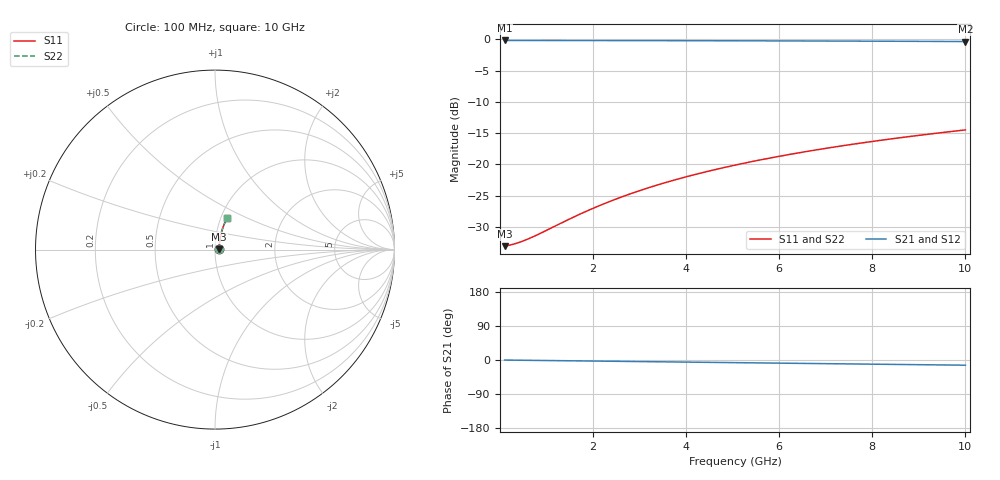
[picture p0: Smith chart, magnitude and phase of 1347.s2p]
# Hz S RI R 50.00
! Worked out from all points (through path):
!   100 points, 100 MHz to 10 GHz, reference 50 ohm
!   highest |S21| = -0.19 dB at 100 MHz (marker M1); lowest = -0.4 dB at 10 GHz (marker M2)
!   group delay of S21, straight-line fit = 3.81 ps
!   lowest |S11| = -33.1 dB at 100 MHz (marker M3), VSWR 1.05, Z = 52.3 + j0.194 ohm
!   |S11| at or under -10 dB: start of sweep to end of sweep
!   |S22| runs from -33.1 to -14.5 dB; largest |S21 - S12| = 0
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1e8  0.0222 0.00186  0.9778 -0.00236  0.9778 -0.00236  0.0222 0.00186
2e8  0.0223 0.00371  0.9777 -0.00473  0.9777 -0.00473  0.0223 0.00371
3e8  0.0225 0.00557  0.9775 -0.00709  0.9775 -0.00709  0.0225 0.00557
4e8  0.0226 0.00742  0.9774 -0.00945  0.9774 -0.00945  0.0226 0.00742
6e8  0.0228 0.0111  0.9772 -0.0142  0.9772 -0.0142  0.0228 0.0111
8e8  0.023 0.0148  0.977 -0.0189  0.977 -0.0189  0.023 0.0148
1.5e9  0.024 0.0278  0.9759 -0.0354  0.9759 -0.0354  0.024 0.0278
1.8e9  0.0245 0.0333  0.9754 -0.0424  0.9754 -0.0424  0.0245 0.0333
2.2e9  0.0254 0.0407  0.9746 -0.0518  0.9746 -0.0518  0.0254 0.0407
2.6e9  0.0263 0.048  0.9736 -0.0612  0.9736 -0.0612  0.0263 0.048
3e9  0.0274 0.0553  0.9725 -0.0705  0.9725 -0.0705  0.0274 0.0553
3.4e9  0.0286 0.0626  0.9712 -0.0799  0.9712 -0.0799  0.0286 0.0626
3.8e9  0.0299 0.0699  0.9698 -0.0892  0.9698 -0.0892  0.0299 0.0699
4.2e9  0.0314 0.0771  0.9683 -0.0984  0.9683 -0.0984  0.0314 0.0771
4.6e9  0.033 0.0843  0.9667 -0.1076  0.9667 -0.1076  0.033 0.0843
5.1e9  0.0352 0.0932  0.9644 -0.1191  0.9644 -0.1191  0.0352 0.0932
5.9e9  0.0392 0.1074  0.9603 -0.1373  0.9603 -0.1373  0.0392 0.1074
6.7e9  0.0437 0.1213  0.9557 -0.1553  0.9557 -0.1553  0.0437 0.1213
7.5e9  0.0487 0.135  0.9506 -0.1731  0.9506 -0.1731  0.0487 0.135
8.4e9  0.0549 0.1502  0.9442 -0.1929  0.9442 -0.1929  0.0549 0.1502
9.2e9  0.0609 0.1633  0.9379 -0.2101  0.9379 -0.2101  0.0609 0.1633
1e10  0.0674 0.1762  0.9313 -0.2271  0.9313 -0.2271  0.0674 0.1762
